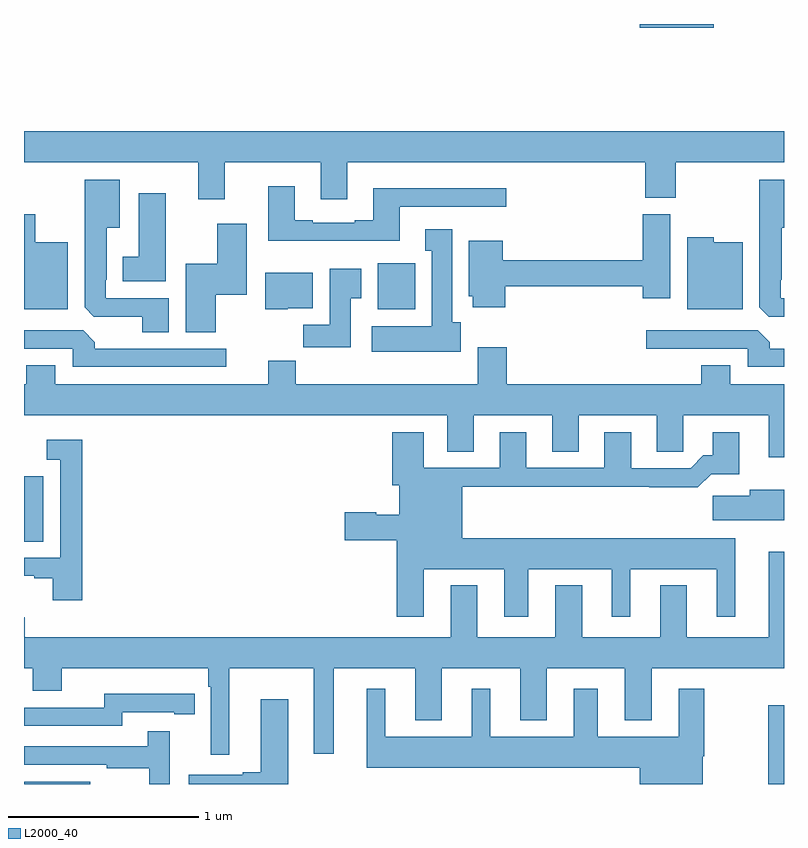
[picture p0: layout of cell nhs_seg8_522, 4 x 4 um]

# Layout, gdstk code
import gdstk
lib = gdstk.Library(unit=1e-6, precision=1e-09)
def R(c, l, rs):  # rectangles x0, y0, x1, y1
    for r in rs: c.add(gdstk.rectangle(r[:2], r[2:], *l))
def P(c, l, *ps):  # polygons
    for p in ps: c.add(gdstk.Polygon(p, *l))
L2000_40 = (2000, 40)

nhs_seg8_522 = lib.new_cell('nhs_seg8_522')
R(nhs_seg8_522, L2000_40, [(145,1107.9,145.348,1107.913), (148.917,1107.9,149,1108.315), (145,1109.176,145.102,1109.52), (146.861,1110.398,147.058,1110.64), (148.242,1111.88,148.63,1111.9)])
P(nhs_seg8_522, L2000_40, [(146.056,1111.172),(146.561,1111.172),(146.561,1110.978),(146.701,1110.978),(146.701,1111.172),(148.271,1111.172),(148.271,1110.985),(148.431,1110.985),(148.431,1111.172),(149,1111.172),(149,1111.336),(145,1111.336),(145,1111.172),(145.916,1111.172),(145.916,1110.978),(146.056,1110.978)],
  [(145.762,1110.456),(145.431,1110.456),(145.431,1110.553),(145.435,1110.553),(145.435,1110.827),(145.504,1110.827),(145.504,1111.081),(145.319,1111.081),(145.319,1110.409),(145.368,1110.36),(145.622,1110.36),(145.622,1110.277),(145.762,1110.277)],
  [(149,1110.456),(148.983,1110.456),(148.983,1110.553),(148.987,1110.553),(148.987,1110.827),(149,1110.827),(149,1111.081),(148.871,1111.081),(148.871,1110.409),(148.92,1110.36),(149,1110.36)],
  [(146.977,1110.939),(147.538,1110.939),(147.538,1111.036),(146.837,1111.036),(146.837,1110.868),(146.741,1110.868),(146.741,1110.855),(146.521,1110.855),(146.521,1110.868),(146.425,1110.868),(146.425,1111.045),(146.285,1111.045),(146.285,1110.758),(146.977,1110.758)],
  [(145.747,1111.009),(145.604,1111.009),(145.604,1110.676),(145.52,1110.676),(145.52,1110.545),(145.747,1110.545)],
  [(147.533,1110.52),(148.256,1110.52),(148.256,1110.456),(148.402,1110.456),(148.402,1110.9),(148.256,1110.9),(148.256,1110.656),(147.52,1110.656),(147.52,1110.76),(147.341,1110.76),(147.341,1110.468),(147.362,1110.468),(147.362,1110.408),(147.533,1110.408)],
  [(145.231,1110.751),(145.06,1110.751),(145.06,1110.898),(145,1110.898),(145,1110.398),(145.231,1110.398)],
  [(146.008,1110.476),(146.173,1110.476),(146.173,1110.85),(146.018,1110.85),(146.018,1110.639),(145.85,1110.639),(145.85,1110.277),(146.008,1110.277)],
  [(147.298,1110.33),(147.253,1110.33),(147.253,1110.82),(147.113,1110.82),(147.113,1110.707),(147.146,1110.707),(147.146,1110.31),(146.829,1110.31),(146.829,1110.176),(147.298,1110.176)],
  [(148.783,1110.751),(148.629,1110.751),(148.629,1110.778),(148.49,1110.778),(148.49,1110.398),(148.783,1110.398)],
  [(146.719,1110.457),(146.776,1110.457),(146.776,1110.613),(146.609,1110.613),(146.609,1110.316),(146.47,1110.316),(146.47,1110.198),(146.719,1110.198)],
  [(146.388,1110.404),(146.521,1110.404),(146.521,1110.592),(146.27,1110.592),(146.27,1110.398),(146.388,1110.398)],
  [(149,1110.192),(148.925,1110.192),(148.925,1110.226),(148.863,1110.288),(148.275,1110.288),(148.275,1110.192),(148.809,1110.192),(148.809,1110.096),(149,1110.096)],
  [(146.065,1110.192),(145.373,1110.192),(145.373,1110.226),(145.311,1110.288),(145,1110.288),(145,1110.192),(145.257,1110.192),(145.257,1110.096),(146.065,1110.096)],
  [(149,1110.004),(148.717,1110.004),(148.717,1110.103),(148.565,1110.103),(148.565,1110.004),(147.542,1110.004),(147.542,1110.199),(147.389,1110.199),(147.389,1110.004),(146.429,1110.004),(146.429,1110.128),(146.285,1110.128),(146.285,1110.004),(145.165,1110.004),(145.165,1110.103),(145.013,1110.103),(145.013,1110.004),(145,1110.004),(145,1109.84),(147.227,1109.84),(147.227,1109.65),(147.367,1109.65),(147.367,1109.84),(147.779,1109.84),(147.779,1109.65),(147.919,1109.65),(147.919,1109.84),(148.331,1109.84),(148.331,1109.65),(148.47,1109.65),(148.47,1109.84),(148.919,1109.84),(148.919,1109.619),(149,1109.619)],
  [(147.103,1109.03),(147.527,1109.03),(147.527,1108.779),(147.655,1108.779),(147.655,1109.03),(148.094,1109.03),(148.094,1108.779),(148.192,1108.779),(148.192,1109.03),(148.646,1109.03),(148.646,1108.779),(148.744,1108.779),(148.744,1109.194),(147.307,1109.194),(147.307,1109.464),(148.291,1109.464),(148.291,1109.462),(148.547,1109.462),(148.616,1109.531),(148.765,1109.531),(148.765,1109.752),(148.625,1109.752),(148.625,1109.629),(148.576,1109.629),(148.509,1109.562),(148.195,1109.562),(148.195,1109.752),(148.055,1109.752),(148.055,1109.565),(147.643,1109.565),(147.643,1109.752),(147.503,1109.752),(147.503,1109.565),(147.103,1109.565),(147.103,1109.752),(146.939,1109.752),(146.939,1109.472),(146.975,1109.472),(146.975,1109.317),(146.855,1109.317),(146.855,1109.33),(146.688,1109.33),(146.688,1109.183),(146.963,1109.183),(146.963,1108.779),(147.103,1108.779)],
  [(145.307,1109.713),(145.119,1109.713),(145.119,1109.607),(145.191,1109.607),(145.191,1109.091),(145,1109.091),(145,1108.995),(145.055,1108.995),(145.055,1108.983),(145.151,1108.983),(145.151,1108.866),(145.307,1108.866)],
  [(149,1109.449),(148.82,1109.449),(148.82,1109.417),(148.626,1109.417),(148.626,1109.288),(149,1109.288)],
  [(146.08,1108.508),(146.525,1108.508),(146.525,1108.059),(146.629,1108.059),(146.629,1108.508),(147.059,1108.508),(147.059,1108.235),(147.199,1108.235),(147.199,1108.508),(147.611,1108.508),(147.611,1108.235),(147.751,1108.235),(147.751,1108.508),(148.163,1108.508),(148.163,1108.235),(148.303,1108.235),(148.303,1108.508),(149,1108.508),(149,1109.122),(148.919,1109.122),(148.919,1108.672),(148.489,1108.672),(148.489,1108.945),(148.349,1108.945),(148.349,1108.672),(147.937,1108.672),(147.937,1108.945),(147.797,1108.945),(147.797,1108.672),(147.385,1108.672),(147.385,1108.945),(147.245,1108.945),(147.245,1108.672),(145.004,1108.672),(145.004,1108.778),(145,1108.778),(145,1108.508),(145.046,1108.508),(145.046,1108.391),(145.198,1108.391),(145.198,1108.508),(145.97,1108.508),(145.97,1108.412),(145.983,1108.412),(145.983,1108.053),(146.08,1108.053)],
  [(148.573,1108.046),(148.581,1108.046),(148.581,1108.402),(148.445,1108.402),(148.445,1108.15),(148.021,1108.15),(148.021,1108.402),(147.893,1108.402),(147.893,1108.15),(147.454,1108.15),(147.454,1108.402),(147.356,1108.402),(147.356,1108.15),(146.902,1108.15),(146.902,1108.402),(146.804,1108.402),(146.804,1107.986),(148.241,1107.986),(148.241,1107.9),(148.573,1107.9)],
  [(145.518,1108.278),(145.79,1108.278),(145.79,1108.266),(145.898,1108.266),(145.898,1108.374),(145.79,1108.374),(145.79,1108.375),(145.422,1108.375),(145.422,1108.302),(145,1108.302),(145,1108.206),(145.518,1108.206)],
  [(146.392,1108.345),(146.246,1108.345),(146.246,1107.962),(146.15,1107.962),(146.15,1107.949),(145.866,1107.949),(145.866,1107.9),(146.392,1107.9)],
  [(145.767,1108.177),(145.651,1108.177),(145.651,1108.098),(145,1108.098),(145,1108.002),(145.435,1108.002),(145.435,1107.982),(145.659,1107.982),(145.659,1107.9),(145.767,1107.9)])

lib.write_gds('nhs_seg8_522.gds')
